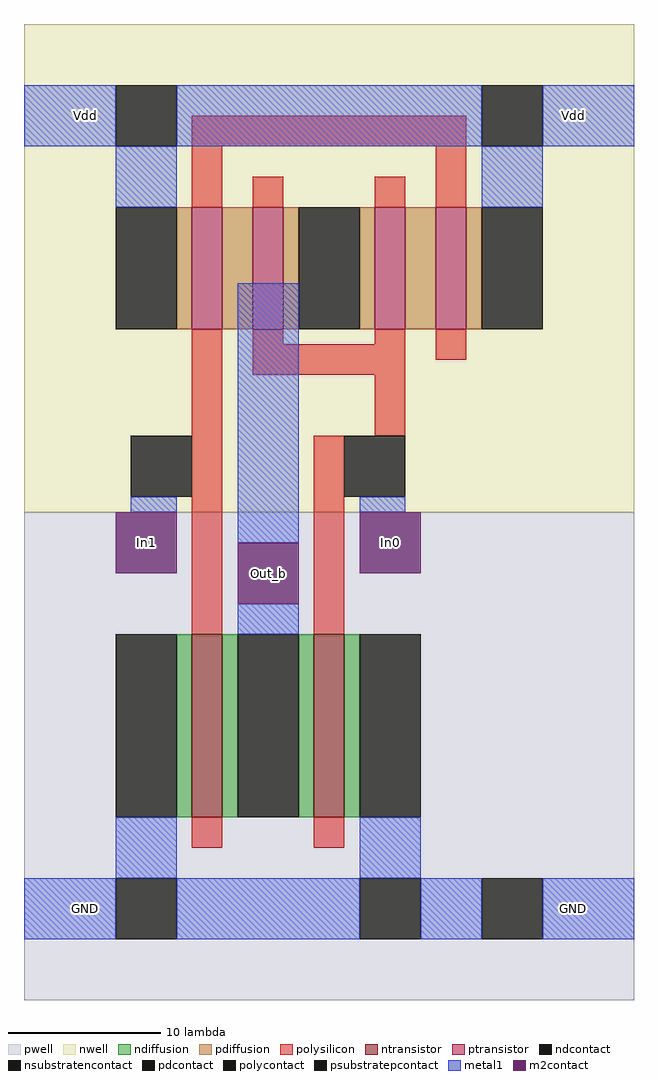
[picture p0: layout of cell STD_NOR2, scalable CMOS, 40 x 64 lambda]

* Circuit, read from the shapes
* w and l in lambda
.subckt STD_NOR2 GND In0 In1 Out_b Vdd
M1 Out_b In1 GND GND nfet w=12 l=2
M2 GND In0 Out_b GND nfet w=12 l=2
M3 n1 In1 Vdd Vdd pfet w=8 l=2
M4 Out_b In0 n1 Vdd pfet w=8 l=2
M5 n2 In0 Out_b Vdd pfet w=8 l=2
M6 Vdd In1 n2 Vdd pfet w=8 l=2
.ends

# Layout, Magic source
magic
tech scmos
<< pwell >>
rect 0 0 40 32
<< nwell >>
rect 0 32 40 64
<< polysilicon >>
rect 11 56 29 58
rect 11 52 13 56
rect 15 52 17 54
rect 23 52 25 54
rect 27 52 29 56
rect 11 24 13 44
rect 15 43 17 44
rect 23 43 25 44
rect 15 41 25 43
rect 27 42 29 44
rect 23 37 25 41
rect 19 24 21 37
rect 11 10 13 12
rect 19 10 21 12
<< ndiffusion >>
rect 10 12 11 24
rect 13 12 14 24
rect 18 12 19 24
rect 21 12 22 24
<< pdiffusion >>
rect 10 44 11 52
rect 13 44 15 52
rect 17 44 18 52
rect 22 44 23 52
rect 25 44 27 52
rect 29 44 30 52
<< metal1 >>
rect 0 56 6 60
rect 10 56 30 60
rect 34 56 40 60
rect 6 52 10 56
rect 30 52 34 56
rect 7 32 10 33
rect 14 30 18 47
rect 22 32 25 33
rect 14 24 18 26
rect 6 8 10 12
rect 22 8 26 12
rect 0 4 6 8
rect 10 4 22 8
rect 26 4 30 8
rect 34 4 40 8
<< ntransistor >>
rect 11 12 13 24
rect 19 12 21 24
<< ptransistor >>
rect 11 44 13 52
rect 15 44 17 52
rect 23 44 25 52
rect 27 44 29 52
<< polycontact >>
rect 7 33 11 37
rect 21 33 25 37
<< ndcontact >>
rect 6 12 10 24
rect 14 12 18 24
rect 22 12 26 24
<< pdcontact >>
rect 6 44 10 52
rect 18 44 22 52
rect 30 44 34 52
<< m2contact >>
rect 6 28 10 32
rect 14 26 18 30
rect 22 28 26 32
<< psubstratepcontact >>
rect 6 4 10 8
rect 22 4 26 8
rect 30 4 34 8
<< nsubstratencontact >>
rect 6 56 10 60
rect 30 56 34 60
<< labels >>
rlabel metal1 4 6 4 6 6 GND
rlabel metal1 36 6 36 6 6 GND
rlabel metal1 4 58 4 58 6 Vdd
rlabel metal1 36 58 36 58 6 Vdd
rlabel m2contact 8 30 8 30 6 In1
rlabel m2contact 16 28 16 28 6 Out_b
rlabel m2contact 24 30 24 30 6 In0
<< end >>
